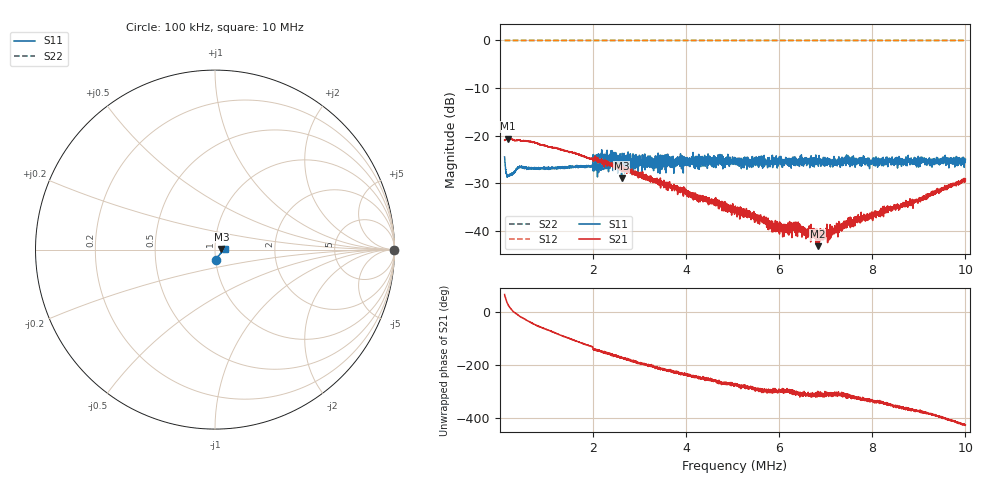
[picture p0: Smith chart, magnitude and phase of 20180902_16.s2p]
! Anritsu VNA Master:  Model: MS2026C/19
! SN:  1815009
! /card0/usr/20180902_16.s2p
! Existing Calibration Information:
! TYPE:  Current Settings,  Active Cal Settings
! TIME:  09/02/2018 12:51:28 PM,  09/02/2018 11:58:48 AM
! INTERNAL TEMP:  53.8 C,  48.8 C
! # POINTS:  4001,  4001
! START FREQ:  100.000 kHz,  100.000 kHz
! STOP FREQ:  10.000 MHz,  10.000 MHz
! SOURCE POWER:  Low,  Low
! IFBW:  500 Hz,  500 Hz
! AVG FACTOR:  5 ,  1
! REF PLANE 1:  0 mm,  0 mm
! REF PLANE 2:  0 mm,  0 mm
! CAL TYPE:  1P2P S11,S21,  1P2P S11,S21
! CAL METHOD:  SOLT,  SOLT
! CAL LINE TYPE:  Coax,  Coax
! DUT PORT 1:  N-Conn(M),  N-Conn(M)
! DUT PORT 2:  N-Conn(M),  N-Conn(M)
! CAL STATUS:  ?T: Accuracy moderate (|Temp diff| > 5.0 C),  --
# GHZ S RI R 50.0
! FREQ.GHZ  S11RE  S11IM  S21RE  S21IM  S12RE  S12IM  S22RE  S22IM
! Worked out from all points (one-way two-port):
!   4001 points, 100 kHz to 10 MHz, reference 50 ohm
!   highest |S21| = -20.58 dB at 169.3 kHz (marker M1); lowest = -43.2 dB at 6.83 MHz (marker M2)
!   lowest |S11| = -28.9 dB at 2.612 MHz (marker M3), VSWR 1.07, Z = 53.7 + j0.355 ohm
!   |S11| at or under -10 dB: start of sweep to end of sweep
!   |S22| runs from 0.0 to 0.0 dB; largest |S21 - S12| = 1.1
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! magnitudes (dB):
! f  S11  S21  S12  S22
! 100 kHz  -24.4  -21.0  0.0  0.0
! 169.3 kHz  -28.5  -20.6  0.0  0.0
! 429.2 kHz  -26.5  -20.9  0.0  0.0
! 1.751 MHz  -26.5  -24.1  0.0  0.0
! 1.951 MHz  -26.4  -24.8  0.0  0.0
! 2.043 MHz  -25.6  -24.7  0.0  0.0
! 2.134 MHz  -26.4  -25.0  0.0  0.0
! 2.337 MHz  -24.2  -25.6  0.0  0.0
! 2.612 MHz  -28.9  -26.7  0.0  0.0
! 2.753 MHz  -23.4  -27.4  0.0  0.0
! 3.402 MHz  -25.8  -30.0  0.0  0.0
! 5.05 MHz  -25.4  -36.0  0.0  0.0
! 5.639 MHz  -26.3  -37.2  0.0  0.0
! 5.872 MHz  -24.7  -39.6  0.0  0.0
! 6.33 MHz  -24.8  -39.3  0.0  0.0
! 6.701 MHz  -26.0  -40.0  0.0  0.0
! 6.83 MHz  -25.9  -43.2  0.0  0.0
! 7.082 MHz  -25.5  -39.8  0.0  0.0
! 7.498 MHz  -24.8  -37.9  0.0  0.0
! 8.352 MHz  -25.2  -35.5  0.0  0.0
! 9.01 MHz  -25.2  -33.6  0.0  0.0
! 10 MHz  -24.9  -29.1  0.0  0.0
